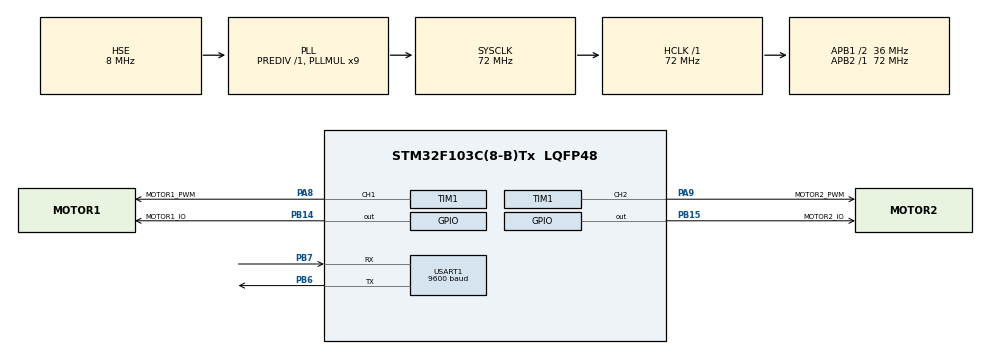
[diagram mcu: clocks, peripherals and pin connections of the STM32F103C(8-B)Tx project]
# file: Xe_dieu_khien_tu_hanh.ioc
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Mcu.Family=STM32F1
Mcu.Name=STM32F103C(8-B)Tx
Mcu.Package=LQFP48
NVIC.PriorityGroup=NVIC_PRIORITYGROUP_4
NVIC.USART1_IRQn=true\:1\:0\:true\:false\:true\:true\:true\:true
PA13.Mode=Serial_Wire
PA13.Signal=SYS_JTMS-SWDIO
PA14.Mode=Serial_Wire
PA14.Signal=SYS_JTCK-SWCLK
PA8.GPIO_Label=MOTOR1_PWM
PA8.Signal=S_TIM1_CH1
PA9.GPIO_Label=MOTOR2_PWM
PA9.Signal=S_TIM1_CH2
PB14.GPIO_Label=MOTOR1_IO
PB14.Signal=GPIO_Output
PB15.GPIO_Label=MOTOR2_IO
PB15.Signal=GPIO_Output
PB6.Mode=Asynchronous
PB6.Signal=USART1_TX
PB7.Mode=Asynchronous
PB7.Signal=USART1_RX
PD0-OSC_IN.Mode=HSE-External-Oscillator
PD0-OSC_IN.Signal=RCC_OSC_IN
PD1-OSC_OUT.Mode=HSE-External-Oscillator
PD1-OSC_OUT.Signal=RCC_OSC_OUT
ProjectManager.HeapSize=0x200
ProjectManager.StackSize=0x400
ProjectManager.TargetToolchain=MDK-ARM V5.32
RCC.AHBFreq_Value=72000000
RCC.APB1CLKDivider=RCC_HCLK_DIV2
RCC.APB1Freq_Value=36000000
RCC.APB1TimFreq_Value=72000000
RCC.APB2Freq_Value=72000000
RCC.APB2TimFreq_Value=72000000
RCC.HCLKFreq_Value=72000000
RCC.PLLMUL=RCC_PLL_MUL9
RCC.PLLSourceVirtual=RCC_PLLSOURCE_HSE
RCC.SYSCLKFreq_VALUE=72000000
RCC.SYSCLKSource=RCC_SYSCLKSOURCE_PLLCLK
RCC.USBFreq_Value=72000000
SH.S_TIM1_CH1.0=TIM1_CH1,PWM Generation1 CH1
SH.S_TIM1_CH2.0=TIM1_CH2,PWM Generation2 CH2
TIM1.Channel-PWM\ Generation1\ CH1=TIM_CHANNEL_1
TIM1.Channel-PWM\ Generation2\ CH2=TIM_CHANNEL_2
TIM1.Period=1000-1
TIM1.Prescaler=72-1
USART1.BaudRate=9600
USART1.VirtualMode=VM_ASYNC
VP_TIM1_VS_ClockSourceINT.Mode=Internal
board=custom

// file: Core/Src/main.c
/* USER CODE BEGIN Header */
/**
  ******************************************************************************
  * @file           : main.c
  * @brief          : Main program body
  ******************************************************************************
  * @attention
  *
  * Copyright (c) 2022 STMicroelectronics.
  * All rights reserved.
  *
  * This software is licensed under terms that can be found in the LICENSE file
  * in the root directory of this software component.
  * If no LICENSE file comes with this software, it is provided AS-IS.
  *
  ******************************************************************************
  */
/* USER CODE END Header */
#include "main.h"

/* USER CODE BEGIN Includes */
#include "car.h"
#include "motor.h"
#include "pwm.h"

/* USER CODE END Includes */

 TIM_HandleTypeDef htim1;

UART_HandleTypeDef huart1;

void SystemClock_Config(void);
static void MX_GPIO_Init(void);
static void MX_TIM1_Init(void);
static void MX_USART1_UART_Init(void);

/* USER CODE BEGIN 0 */

// Nhan mot byte => sinh ra ngat
// Mot chu cai trong ascii la 1 byte
uint8_t data_rx;
uint8_t uart_flag=0;
uint8_t car_speed = 100;

void HAL_UART_RxCpltCallback(UART_HandleTypeDef *huart)
{
	if (huart->Instance == huart1.Instance)
		{
			uart_flag=1;
			HAL_UART_Receive_IT(&huart1,&data_rx,1);
		}
}

/* USER CODE END 0 */

int main(void)
{

  /* MCU Configuration--------------------------------------------------------*/

  /* Reset of all peripherals, Initializes the Flash interface and the Systick. */
  HAL_Init();

  /* Configure the system clock */
  SystemClock_Config();

  /* Initialize all configured peripherals */
  MX_GPIO_Init();
  MX_TIM1_Init();
  MX_USART1_UART_Init();
  /* USER CODE BEGIN 2 */
  car_init(&htim1);
	HAL_UART_Receive_IT(&huart1,&data_rx,1);

  /* USER CODE END 2 */

  /* Infinite loop */
  while (1)
  {

    /* USER CODE BEGIN 3 */
		if (uart_flag)
		{
			switch(data_rx)
			{
				case 'S' :
						car_control(CAR_STOP_STATE,0);
						break;
				case 'F' :
						car_control(CAR_FORWARD_STATE,car_speed);
						break;
				case 'B' :
						car_control(CAR_BACKWARD_STATE,car_speed);
						break;
				case 'L' :
						car_control(CAR_LEFT_STATE,car_speed);
						break;
				case 'R' :
						car_control(CAR_RIGHT_STATE,car_speed);
						break;
				default:
					if(data_rx>'0' && data_rx <= '9')
					{
						car_speed = (data_rx - '0')*10;
					}
					else if (data_rx == 'q')
					{
						car_speed=100;
					}
				break;
			}
			uart_flag=0;
		}
  }
  /* USER CODE END 3 */
}

void SystemClock_Config(void)
{
  RCC_OscInitTypeDef RCC_OscInitStruct = {0};
  RCC_ClkInitTypeDef RCC_ClkInitStruct = {0};

  /** Initializes the RCC Oscillators according to the specified parameters
  * in the RCC_OscInitTypeDef structure.
  */
  RCC_OscInitStruct.OscillatorType = RCC_OSCILLATORTYPE_HSE;
  RCC_OscInitStruct.HSEState = RCC_HSE_ON;
  RCC_OscInitStruct.HSEPredivValue = RCC_HSE_PREDIV_DIV1;
  RCC_OscInitStruct.HSIState = RCC_HSI_ON;
  RCC_OscInitStruct.PLL.PLLState = RCC_PLL_ON;
  RCC_OscInitStruct.PLL.PLLSource = RCC_PLLSOURCE_HSE;
  RCC_OscInitStruct.PLL.PLLMUL = RCC_PLL_MUL9;
  if (HAL_RCC_OscConfig(&RCC_OscInitStruct) != HAL_OK)
  {
    Error_Handler();
  }

  /** Initializes the CPU, AHB and APB buses clocks
  */
  RCC_ClkInitStruct.ClockType = RCC_CLOCKTYPE_HCLK|RCC_CLOCKTYPE_SYSCLK
                              |RCC_CLOCKTYPE_PCLK1|RCC_CLOCKTYPE_PCLK2;
  RCC_ClkInitStruct.SYSCLKSource = RCC_SYSCLKSOURCE_PLLCLK;
  RCC_ClkInitStruct.AHBCLKDivider = RCC_SYSCLK_DIV1;
  RCC_ClkInitStruct.APB1CLKDivider = RCC_HCLK_DIV2;
  RCC_ClkInitStruct.APB2CLKDivider = RCC_HCLK_DIV1;

  if (HAL_RCC_ClockConfig(&RCC_ClkInitStruct, FLASH_LATENCY_2) != HAL_OK)
  {
    Error_Handler();
  }
}

static void MX_TIM1_Init(void)
{

  TIM_ClockConfigTypeDef sClockSourceConfig = {0};
  TIM_MasterConfigTypeDef sMasterConfig = {0};
  TIM_OC_InitTypeDef sConfigOC = {0};
  TIM_BreakDeadTimeConfigTypeDef sBreakDeadTimeConfig = {0};

  htim1.Instance = TIM1;
  htim1.Init.Prescaler = 72-1;
  htim1.Init.CounterMode = TIM_COUNTERMODE_UP;
  htim1.Init.Period = 1000-1;
  htim1.Init.ClockDivision = TIM_CLOCKDIVISION_DIV1;
  htim1.Init.RepetitionCounter = 0;
  htim1.Init.AutoReloadPreload = TIM_AUTORELOAD_PRELOAD_DISABLE;
  if (HAL_TIM_Base_Init(&htim1) != HAL_OK)
  {
    Error_Handler();
  }
  sClockSourceConfig.ClockSource = TIM_CLOCKSOURCE_INTERNAL;
  if (HAL_TIM_ConfigClockSource(&htim1, &sClockSourceConfig) != HAL_OK)
  {
    Error_Handler();
  }
  if (HAL_TIM_PWM_Init(&htim1) != HAL_OK)
  {
    Error_Handler();
  }
  sMasterConfig.MasterOutputTrigger = TIM_TRGO_RESET;
  sMasterConfig.MasterSlaveMode = TIM_MASTERSLAVEMODE_DISABLE;
  if (HAL_TIMEx_MasterConfigSynchronization(&htim1, &sMasterConfig) != HAL_OK)
  {
    Error_Handler();
  }
  sConfigOC.OCMode = TIM_OCMODE_PWM1;
  sConfigOC.Pulse = 0;
  sConfigOC.OCPolarity = TIM_OCPOLARITY_HIGH;
  sConfigOC.OCNPolarity = TIM_OCNPOLARITY_HIGH;
  sConfigOC.OCFastMode = TIM_OCFAST_DISABLE;
  sConfigOC.OCIdleState = TIM_OCIDLESTATE_RESET;
  sConfigOC.OCNIdleState = TIM_OCNIDLESTATE_RESET;
  if (HAL_TIM_PWM_ConfigChannel(&htim1, &sConfigOC, TIM_CHANNEL_1) != HAL_OK)
  {
    Error_Handler();
  }
  if (HAL_TIM_PWM_ConfigChannel(&htim1, &sConfigOC, TIM_CHANNEL_2) != HAL_OK)
  {
    Error_Handler();
  }
  sBreakDeadTimeConfig.OffStateRunMode = TIM_OSSR_DISABLE;
  sBreakDeadTimeConfig.OffStateIDLEMode = TIM_OSSI_DISABLE;
  sBreakDeadTimeConfig.LockLevel = TIM_LOCKLEVEL_OFF;
  sBreakDeadTimeConfig.DeadTime = 0;
  sBreakDeadTimeConfig.BreakState = TIM_BREAK_DISABLE;
  sBreakDeadTimeConfig.BreakPolarity = TIM_BREAKPOLARITY_HIGH;
  sBreakDeadTimeConfig.AutomaticOutput = TIM_AUTOMATICOUTPUT_DISABLE;
  if (HAL_TIMEx_ConfigBreakDeadTime(&htim1, &sBreakDeadTimeConfig) != HAL_OK)
  {
    Error_Handler();
  }
  HAL_TIM_MspPostInit(&htim1);

}

static void MX_USART1_UART_Init(void)
{

  huart1.Instance = USART1;
  huart1.Init.BaudRate = 9600;
  huart1.Init.WordLength = UART_WORDLENGTH_8B;
  huart1.Init.StopBits = UART_STOPBITS_1;
  huart1.Init.Parity = UART_PARITY_NONE;
  huart1.Init.Mode = UART_MODE_TX_RX;
  huart1.Init.HwFlowCtl = UART_HWCONTROL_NONE;
  huart1.Init.OverSampling = UART_OVERSAMPLING_16;
  if (HAL_UART_Init(&huart1) != HAL_OK)
  {
    Error_Handler();
  }

}

static void MX_GPIO_Init(void)
{
  GPIO_InitTypeDef GPIO_InitStruct = {0};

  /* GPIO Ports Clock Enable */
  __HAL_RCC_GPIOD_CLK_ENABLE();
  __HAL_RCC_GPIOB_CLK_ENABLE();
  __HAL_RCC_GPIOA_CLK_ENABLE();

  /*Configure GPIO pin Output Level */
  HAL_GPIO_WritePin(GPIOB, MOTOR1_IO_Pin|MOTOR2_IO_Pin, GPIO_PIN_RESET);

  /*Configure GPIO pins : MOTOR1_IO_Pin MOTOR2_IO_Pin */
  GPIO_InitStruct.Pin = MOTOR1_IO_Pin|MOTOR2_IO_Pin;
  GPIO_InitStruct.Mode = GPIO_MODE_OUTPUT_PP;
  GPIO_InitStruct.Pull = GPIO_NOPULL;
  GPIO_InitStruct.Speed = GPIO_SPEED_FREQ_LOW;
  HAL_GPIO_Init(GPIOB, &GPIO_InitStruct);

}

void Error_Handler(void)
{
  __disable_irq();
  while (1)
  {
  }
}
